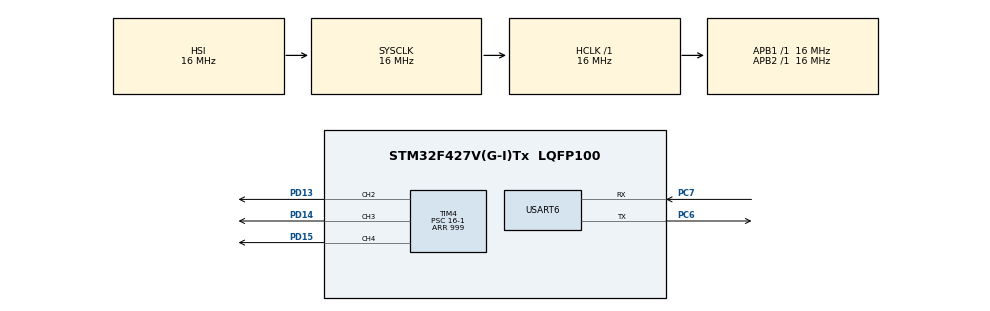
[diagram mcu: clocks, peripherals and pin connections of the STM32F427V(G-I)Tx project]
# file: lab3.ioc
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Mcu.Family=STM32F4
Mcu.Name=STM32F427V(G-I)Tx
Mcu.Package=LQFP100
NVIC.PriorityGroup=NVIC_PRIORITYGROUP_4
NVIC.TIM1_UP_TIM10_IRQn=true\:0\:0\:false\:false\:true\:true\:true\:true
NVIC.USART6_IRQn=true\:0\:0\:false\:false\:true\:true\:true\:true
PA10.Signal=S_TIM1_CH3
PC6.Mode=Asynchronous
PC6.Signal=USART6_TX
PC7.Mode=Asynchronous
PC7.Signal=USART6_RX
PD13.Signal=S_TIM4_CH2
PD14.Signal=S_TIM4_CH3
PD15.Signal=S_TIM4_CH4
ProjectManager.HeapSize=0x200
ProjectManager.StackSize=0x400
ProjectManager.TargetToolchain=STM32CubeIDE
RCC.AHBFreq_Value=16000000
RCC.APB1Freq_Value=16000000
RCC.APB2Freq_Value=16000000
RCC.CortexFreq_Value=16000000
RCC.HSE_VALUE=25000000
RCC.HSI_VALUE=16000000
RCC.LSE_VALUE=32768
RCC.SYSCLKFreq_VALUE=16000000
RCC.VCOOutputFreq_Value=192000000
SH.S_TIM1_CH3.0=TIM1_CH3
SH.S_TIM4_CH2.0=TIM4_CH2,PWM Generation2 CH2
SH.S_TIM4_CH3.0=TIM4_CH3,PWM Generation3 CH3
SH.S_TIM4_CH4.0=TIM4_CH4,PWM Generation4 CH4
TIM1.Channel-Output\ Compare3\ No\ Output=TIM_CHANNEL_3
TIM1.Period=10-1
TIM1.Prescaler=1600-1
TIM4.Channel-PWM\ Generation2\ CH2=TIM_CHANNEL_2
TIM4.Channel-PWM\ Generation3\ CH3=TIM_CHANNEL_3
TIM4.Channel-PWM\ Generation4\ CH4=TIM_CHANNEL_4
TIM4.Period=999
TIM4.Prescaler=16-1
TIM4.Pulse-PWM\ Generation2\ CH2=500
USART6.VirtualMode=VM_ASYNC
VP_TIM1_VS_no_output3.Mode=Output Compare3 No Output
VP_TIM4_VS_ClockSourceINT.Mode=Internal
board=custom

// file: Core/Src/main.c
/* USER CODE BEGIN Header */
/**
  ******************************************************************************
  * @file           : main.c
  * @brief          : Main program body
  ******************************************************************************
  * @attention
  *
  * Copyright (c) 2023 STMicroelectronics.
  * All rights reserved.
  *
  * This software is licensed under terms that can be found in the LICENSE file
  * in the root directory of this software component.
  * If no LICENSE file comes with this software, it is provided AS-IS.
  *
  ******************************************************************************
  */
/* USER CODE END Header */
#include "main.h"

/* USER CODE BEGIN PD */
#define WRITE_BUFFER_SIZE 512
#define MIDDLE_BUFFER_SIZE 100
#define INPUT_TICK_BUFFER_SIZE 20
#define TICK_BUFF_SIZE 200
#define MAX_DURATION 10
#define MODES_COUNT 5
/* USER CODE END PD */

TIM_HandleTypeDef htim1;
TIM_HandleTypeDef htim4;

UART_HandleTypeDef huart6;

/* USER CODE BEGIN PV */
uint8_t read_buffer = 0;
uint8_t output = 1; // сейчас читаем или выводим
Tick green[TICK_BUFF_SIZE] = {};
Tick red_yellow[TICK_BUFF_SIZE] = {};
uint8_t tick = 0;
uint32_t writing_ptr;
uint32_t current_write_ptr;
Mode modes[MODES_COUNT] = {0};

uint8_t buffer_to_write[WRITE_BUFFER_SIZE] = {}; // буфер на передачу
uint8_t middle_buffer[MIDDLE_BUFFER_SIZE] = {};
size_t start_write = 0; // номер символа с которого начинать передачу
size_t end_write = 0;

uint8_t mode = 1;
uint32_t min_scaler = 1;
uint32_t max_scaler = 100;
uint32_t scaler_speed = 10;
uint32_t new_scaler_speed;

Input_tick tick_buffer[INPUT_TICK_BUFFER_SIZE] = {};
Input_tick cur_read_tick = {0};
uint8_t tick_ptr = 0;
uint8_t tick_len = 0;

/* USER CODE END PV */

void SystemClock_Config(void);
static void MX_GPIO_Init(void);
static void MX_USART6_UART_Init(void);
static void MX_TIM1_Init(void);
static void MX_TIM4_Init(void);

int main(void)
{

  /* MCU Configuration--------------------------------------------------------*/

  /* Reset of all peripherals, Initializes the Flash interface and the Systick. */
  HAL_Init();

  /* Configure the system clock */
  SystemClock_Config();

  /* Initialize all configured peripherals */
  MX_GPIO_Init();
  MX_USART6_UART_Init();
  MX_TIM1_Init();
  MX_TIM4_Init();
  /* USER CODE BEGIN 2 */
  HAL_TIM_PWM_Start(&htim4, TIM_CHANNEL_2);
  HAL_TIM_PWM_Start(&htim4, TIM_CHANNEL_3);
  HAL_TIM_PWM_Start(&htim4, TIM_CHANNEL_4);
  HAL_TIM_Base_Start_IT((TIM_HandleTypeDef *)&htim1);
  HAL_UART_Receive_IT(&huart6, (uint8_t*) &read_buffer, 1);
  init_modes(modes);
  play_new_mode(&modes[0], green, red_yellow, &writing_ptr, &current_write_ptr);

  /* USER CODE END 2 */

  /* Infinite loop */
  while (1)
  {

  }
}

void SystemClock_Config(void)
{
  RCC_OscInitTypeDef RCC_OscInitStruct = {0};
  RCC_ClkInitTypeDef RCC_ClkInitStruct = {0};

  /** Configure the main internal regulator output voltage
  */
  __HAL_RCC_PWR_CLK_ENABLE();
  __HAL_PWR_VOLTAGESCALING_CONFIG(PWR_REGULATOR_VOLTAGE_SCALE3);

  /** Initializes the RCC Oscillators according to the specified parameters
  * in the RCC_OscInitTypeDef structure.
  */
  RCC_OscInitStruct.OscillatorType = RCC_OSCILLATORTYPE_HSI;
  RCC_OscInitStruct.HSIState = RCC_HSI_ON;
  RCC_OscInitStruct.HSICalibrationValue = RCC_HSICALIBRATION_DEFAULT;
  RCC_OscInitStruct.PLL.PLLState = RCC_PLL_NONE;
  if (HAL_RCC_OscConfig(&RCC_OscInitStruct) != HAL_OK)
  {
    Error_Handler();
  }

  /** Initializes the CPU, AHB and APB buses clocks
  */
  RCC_ClkInitStruct.ClockType = RCC_CLOCKTYPE_HCLK|RCC_CLOCKTYPE_SYSCLK
                              |RCC_CLOCKTYPE_PCLK1|RCC_CLOCKTYPE_PCLK2;
  RCC_ClkInitStruct.SYSCLKSource = RCC_SYSCLKSOURCE_HSI;
  RCC_ClkInitStruct.AHBCLKDivider = RCC_SYSCLK_DIV1;
  RCC_ClkInitStruct.APB1CLKDivider = RCC_HCLK_DIV1;
  RCC_ClkInitStruct.APB2CLKDivider = RCC_HCLK_DIV1;

  if (HAL_RCC_ClockConfig(&RCC_ClkInitStruct, FLASH_LATENCY_0) != HAL_OK)
  {
    Error_Handler();
  }
}

static void MX_TIM1_Init(void)
{

  TIM_MasterConfigTypeDef sMasterConfig = {0};
  TIM_OC_InitTypeDef sConfigOC = {0};
  TIM_BreakDeadTimeConfigTypeDef sBreakDeadTimeConfig = {0};

  htim1.Instance = TIM1;
  htim1.Init.Prescaler = 1600-1;
  htim1.Init.CounterMode = TIM_COUNTERMODE_UP;
  htim1.Init.Period = 10-1;
  htim1.Init.ClockDivision = TIM_CLOCKDIVISION_DIV1;
  htim1.Init.RepetitionCounter = 0;
  htim1.Init.AutoReloadPreload = TIM_AUTORELOAD_PRELOAD_DISABLE;
  if (HAL_TIM_OC_Init(&htim1) != HAL_OK)
  {
    Error_Handler();
  }
  sMasterConfig.MasterOutputTrigger = TIM_TRGO_RESET;
  sMasterConfig.MasterSlaveMode = TIM_MASTERSLAVEMODE_DISABLE;
  if (HAL_TIMEx_MasterConfigSynchronization(&htim1, &sMasterConfig) != HAL_OK)
  {
    Error_Handler();
  }
  sConfigOC.OCMode = TIM_OCMODE_TIMING;
  sConfigOC.Pulse = 0;
  sConfigOC.OCPolarity = TIM_OCPOLARITY_HIGH;
  sConfigOC.OCNPolarity = TIM_OCNPOLARITY_HIGH;
  sConfigOC.OCFastMode = TIM_OCFAST_DISABLE;
  sConfigOC.OCIdleState = TIM_OCIDLESTATE_RESET;
  sConfigOC.OCNIdleState = TIM_OCNIDLESTATE_RESET;
  if (HAL_TIM_OC_ConfigChannel(&htim1, &sConfigOC, TIM_CHANNEL_3) != HAL_OK)
  {
    Error_Handler();
  }
  sBreakDeadTimeConfig.OffStateRunMode = TIM_OSSR_DISABLE;
  sBreakDeadTimeConfig.OffStateIDLEMode = TIM_OSSI_DISABLE;
  sBreakDeadTimeConfig.LockLevel = TIM_LOCKLEVEL_OFF;
  sBreakDeadTimeConfig.DeadTime = 0;
  sBreakDeadTimeConfig.BreakState = TIM_BREAK_DISABLE;
  sBreakDeadTimeConfig.BreakPolarity = TIM_BREAKPOLARITY_HIGH;
  sBreakDeadTimeConfig.AutomaticOutput = TIM_AUTOMATICOUTPUT_DISABLE;
  if (HAL_TIMEx_ConfigBreakDeadTime(&htim1, &sBreakDeadTimeConfig) != HAL_OK)
  {
    Error_Handler();
  }

}

static void MX_TIM4_Init(void)
{

  TIM_ClockConfigTypeDef sClockSourceConfig = {0};
  TIM_MasterConfigTypeDef sMasterConfig = {0};
  TIM_OC_InitTypeDef sConfigOC = {0};

  htim4.Instance = TIM4;
  htim4.Init.Prescaler = 16-1;
  htim4.Init.CounterMode = TIM_COUNTERMODE_UP;
  htim4.Init.Period = 999;
  htim4.Init.ClockDivision = TIM_CLOCKDIVISION_DIV1;
  htim4.Init.AutoReloadPreload = TIM_AUTORELOAD_PRELOAD_DISABLE;
  if (HAL_TIM_Base_Init(&htim4) != HAL_OK)
  {
    Error_Handler();
  }
  sClockSourceConfig.ClockSource = TIM_CLOCKSOURCE_INTERNAL;
  if (HAL_TIM_ConfigClockSource(&htim4, &sClockSourceConfig) != HAL_OK)
  {
    Error_Handler();
  }
  if (HAL_TIM_PWM_Init(&htim4) != HAL_OK)
  {
    Error_Handler();
  }
  sMasterConfig.MasterOutputTrigger = TIM_TRGO_RESET;
  sMasterConfig.MasterSlaveMode = TIM_MASTERSLAVEMODE_DISABLE;
  if (HAL_TIMEx_MasterConfigSynchronization(&htim4, &sMasterConfig) != HAL_OK)
  {
    Error_Handler();
  }
  sConfigOC.OCMode = TIM_OCMODE_PWM1;
  sConfigOC.Pulse = 500;
  sConfigOC.OCPolarity = TIM_OCPOLARITY_HIGH;
  sConfigOC.OCFastMode = TIM_OCFAST_DISABLE;
  if (HAL_TIM_PWM_ConfigChannel(&htim4, &sConfigOC, TIM_CHANNEL_2) != HAL_OK)
  {
    Error_Handler();
  }
  sConfigOC.Pulse = 0;
  if (HAL_TIM_PWM_ConfigChannel(&htim4, &sConfigOC, TIM_CHANNEL_3) != HAL_OK)
  {
    Error_Handler();
  }
  if (HAL_TIM_PWM_ConfigChannel(&htim4, &sConfigOC, TIM_CHANNEL_4) != HAL_OK)
  {
    Error_Handler();
  }
  HAL_TIM_MspPostInit(&htim4);

}

static void MX_USART6_UART_Init(void)
{

  huart6.Instance = USART6;
  huart6.Init.BaudRate = 115200;
  huart6.Init.WordLength = UART_WORDLENGTH_8B;
  huart6.Init.StopBits = UART_STOPBITS_1;
  huart6.Init.Parity = UART_PARITY_NONE;
  huart6.Init.Mode = UART_MODE_TX_RX;
  huart6.Init.HwFlowCtl = UART_HWCONTROL_NONE;
  huart6.Init.OverSampling = UART_OVERSAMPLING_16;
  if (HAL_UART_Init(&huart6) != HAL_OK)
  {
    Error_Handler();
  }

}

static void MX_GPIO_Init(void)
{

  /* GPIO Ports Clock Enable */
  __HAL_RCC_GPIOD_CLK_ENABLE();
  __HAL_RCC_GPIOC_CLK_ENABLE();
  __HAL_RCC_GPIOA_CLK_ENABLE();

}

/* USER CODE BEGIN 4 */
void send_buffer_if_not_empty_IT(UART_HandleTypeDef *huart){
	if (start_write != end_write) {
		HAL_UART_Transmit_IT(huart, (uint8_t*) (buffer_to_write + start_write), 1);
		start_write++;
		if (start_write == WRITE_BUFFER_SIZE) {
			start_write = 0;
			if (end_write == WRITE_BUFFER_SIZE) {
				end_write = 0;
			}
		}
	}
}

void send_uart(UART_HandleTypeDef *huart, uint8_t* buffer, size_t buf_size) {
	// добавить данные в буффер
	char state = HAL_UART_GetState(huart);
	if (buf_size > WRITE_BUFFER_SIZE - end_write) {
		size_t first_size = WRITE_BUFFER_SIZE - end_write;
		if (first_size > 0) {
			memcpy(buffer_to_write + end_write, buffer, first_size);
		}
		memcpy(buffer_to_write, buffer, buf_size - first_size);
		end_write = buf_size - first_size;
	} else {
		memcpy(buffer_to_write + end_write, buffer, buf_size);
		end_write += buf_size;
	}

	if (state != HAL_UART_STATE_BUSY_TX) {
		// свободно, начать передачу
		send_buffer_if_not_empty_IT(huart);
	}
}

void play_new_mode(Mode *mode, Tick *green, Tick *red_yellow, uint32_t *writing_ptr, uint32_t *current_write_ptr) {
  memcpy(green, mode->green, sizeof(Tick) * mode->len);
  memcpy(red_yellow, mode->red_yellow, sizeof(Tick) * mode->len);
  *writing_ptr = mode->len;
  *current_write_ptr = 0;
}

void send_user_mode_param() {
	if (tick_len == 0 && tick_ptr == 0) {
		bzero(middle_buffer, MIDDLE_BUFFER_SIZE);
		sprintf((char*) middle_buffer, "Not found user configuration!\r");
		send_uart(&huart6, middle_buffer, strlen((char*)middle_buffer));
	} else {
		for (int i = 0; i < tick_len; i++) {
				bzero(middle_buffer, MIDDLE_BUFFER_SIZE);
				sprintf((char*) middle_buffer, "\rcolor: %c, bright: %d, duration %d, softness %d\r",
						tick_buffer[i].color, tick_buffer[i].brightness, tick_buffer[i].duration, tick_buffer[i].softness);
				send_uart(&huart6, middle_buffer, strlen((char*)middle_buffer));
		}
		if (tick_ptr > 0) {
			bzero(middle_buffer, MIDDLE_BUFFER_SIZE);
			sprintf((char*) middle_buffer, "\rcolor: %c", cur_read_tick.color);
			send_uart(&huart6, middle_buffer, strlen((char*)middle_buffer));
			if (tick_ptr > 1) {
				bzero(middle_buffer, MIDDLE_BUFFER_SIZE);
				sprintf((char*) middle_buffer, ", bright: %d", cur_read_tick.brightness);
				send_uart(&huart6, middle_buffer, strlen((char*)middle_buffer));
				if (tick_ptr > 2) {
					bzero(middle_buffer, MIDDLE_BUFFER_SIZE);
					printf((char*) middle_buffer, ", duration: %d", cur_read_tick.duration);
					send_uart(&huart6, middle_buffer, strlen((char*)middle_buffer));
				}
			}
			bzero(middle_buffer, MIDDLE_BUFFER_SIZE);
			sprintf((char*) middle_buffer, "\r");
			send_uart(&huart6, middle_buffer, strlen((char*)middle_buffer));
		}
	}
}

void fill_softnes_and_save_input_tick(uint8_t softness) {
	tick_ptr = 0;
	cur_read_tick.softness = softness;
	memcpy(tick_buffer + tick_len, &cur_read_tick, sizeof(Input_tick));
	tick_len++;
}

void handler_input() {
	if (output == 1) {
		switch (read_buffer) {
		case '1':
			// to next mode
			if (mode == 5) {
				mode = 1;
			} else {
				mode++;
			}
			bzero(middle_buffer, MIDDLE_BUFFER_SIZE);
			middle_buffer[0] = '!';
			send_uart(&huart6, middle_buffer, 1 * sizeof(uint8_t));
			play_new_mode(&modes[mode - 1], green, red_yellow, &writing_ptr, &current_write_ptr);
			break;
		case '2':
			// to previos mode
			if (mode == 1) {
				mode = 5;
			} else {
				mode--;
			}
			play_new_mode(&modes[mode - 1], green, red_yellow, &writing_ptr, &current_write_ptr);
			break;
		case '3':
			// faster
			new_scaler_speed = scaler_speed - round((double) scaler_speed / 10);
			if (new_scaler_speed == scaler_speed) {
				new_scaler_speed--;
			}
			if (new_scaler_speed > min_scaler) {
				scaler_speed = new_scaler_speed;
			}
			break;
		case '4':
			// slower
			new_scaler_speed = scaler_speed + round((double) scaler_speed / 10);
			if (new_scaler_speed == scaler_speed) {
				new_scaler_speed++;
			}
			if (new_scaler_speed < max_scaler) {
				scaler_speed = new_scaler_speed;
			}
			break;
		case '5':
			// send current user mode
			send_user_mode_param();
			break;
		case '\r':
			// ввод в меню настройки
			output = 0;
			tick_len = 0;
			break;
		default:
			break;
		}
	} else {
		if (read_buffer == '\r') {
			if (tick_len != 0) {
				fill_mode_array(tick_buffer, tick_len, &modes[MODES_COUNT - 1]);
				tick_ptr = 0;
			}
			output = 1;
		} else {
			switch (tick_ptr) {
				case 0:
					if (tick_len == TICK_BUFF_SIZE) {
						bzero(middle_buffer, MIDDLE_BUFFER_SIZE);
						sprintf((char*) middle_buffer, "user mode buffer is full!");
						send_uart(&huart6, middle_buffer, strlen((char*)middle_buffer));
					} else {
						if (read_buffer == 'r' || read_buffer == 'g' || read_buffer == 'y') {
							tick_ptr++;
							cur_read_tick.color = read_buffer;
						}
					}
					break;
				case 1:
					if (read_buffer >= '1' && read_buffer <= '9'){
						tick_ptr++;
						cur_read_tick.brightness = read_buffer - '0';
					}
					break;
				case 2:
					if (read_buffer >= '1' && read_buffer <= '9'){
						tick_ptr++;
						cur_read_tick.duration = read_buffer - '0';
					}
					break;
				case 3:
					if (read_buffer == '+') {
						fill_softnes_and_save_input_tick(1);
					} else if (read_buffer == '-') {
						fill_softnes_and_save_input_tick(0);
					}
					break;
				default:
					tick_ptr = 0;
					break;
			}
		}
	}
}

void HAL_UART_RxCpltCallback(UART_HandleTypeDef *huart)
{
  if (huart->Instance == USART6)
  {
    // USART6 завершил прием данных
	  //send_uart(huart, (uint8_t*) &read_buffer, sizeof(uint8_t)); эхо
	  handler_input();
	  if (output == 1) {
		  // режим проигрывания - выводим номер мелодии и скорость
		  bzero(middle_buffer, MIDDLE_BUFFER_SIZE);
		  sprintf((char*) middle_buffer, "mode: %d, speed: %ld", mode, scaler_speed);
		  send_uart(huart, middle_buffer, strlen((char*)middle_buffer));
	  } else {
		  // режим пользовательской конфигурации - выводим ту которая есть сейчас
		  // send current user configuration
		  send_user_mode_param();
	  }
	  HAL_UART_Receive_IT(huart, (uint8_t*) &read_buffer, 1);
  }
}

void HAL_UART_TxCpltCallback(UART_HandleTypeDef *huart){
  if (huart->Instance == USART6)
  {
      // USART6 завершил отправку данных
	  send_buffer_if_not_empty_IT(huart);
  }
}

void HAL_TIM_PeriodElapsedCallback(TIM_HandleTypeDef *htim)
{
  if(htim->Instance==TIM1){
	  if (output > 0) {
		  tick++;
		  if (tick >= (MAX_DURATION * scaler_speed)) { // scaler как-то сюда добавлять
		     tick = 0;
		     current_write_ptr++;
		     if (current_write_ptr == writing_ptr) {
		       current_write_ptr = 0;
		     }
		  }
		  htim4.Instance->CCR2 = 100 * green[current_write_ptr].duration;
		  htim4.Instance->CCR3 = 0;
		  htim4.Instance->CCR4 = 0;
		  if (red_yellow[current_write_ptr].color == RED_COLOR) {
			  htim4.Instance->CCR4 = 100 * red_yellow[current_write_ptr].duration;
		  } else {
			  htim4.Instance->CCR3 = 100 * red_yellow[current_write_ptr].duration;
		  }

	  }
  }

}

/* USER CODE END 4 */

void Error_Handler(void)
{
  __disable_irq();
  while (1)
  {
  }
}
